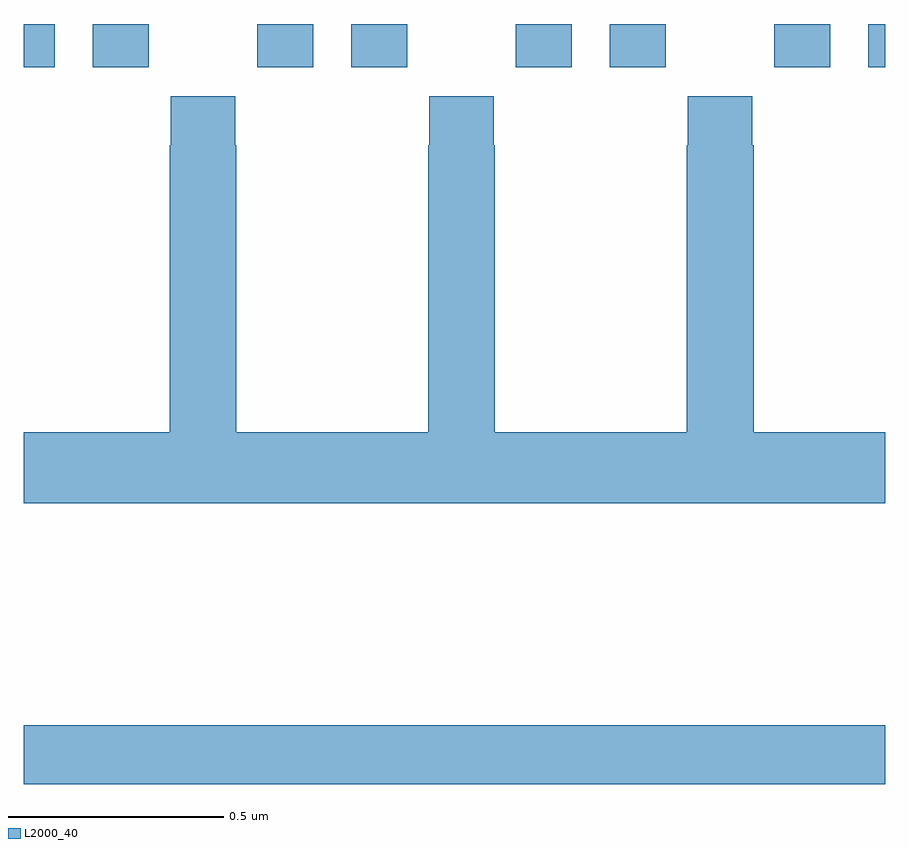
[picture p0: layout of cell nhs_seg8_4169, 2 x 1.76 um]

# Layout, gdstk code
import gdstk
lib = gdstk.Library(unit=1e-6, precision=1e-09)
def R(c, l, rs):  # rectangles x0, y0, x1, y1
    for r in rs: c.add(gdstk.rectangle(r[:2], r[2:], *l))
def P(c, l, *ps):  # polygons
    for p in ps: c.add(gdstk.Polygon(p, *l))
L2000_40 = (2000, 40)

nhs_seg8_4169 = lib.new_cell('nhs_seg8_4169')
R(nhs_seg8_4169, L2000_40, [(166,1161.136,168,1161.272), (166,1162.8,166.072,1162.9), (166.16,1162.8,166.29,1162.9), (166.542,1162.8,166.672,1162.9), (166.76,1162.8,166.89,1162.9), (167.142,1162.8,167.272,1162.9), (167.36,1162.8,167.49,1162.9), (167.742,1162.8,167.872,1162.9), (167.96,1162.8,168,1162.9)])
P(nhs_seg8_4169, L2000_40, [(168,1161.952),(167.694,1161.952),(167.694,1162.619),(167.691,1162.619),(167.691,1162.732),(167.541,1162.732),(167.541,1162.619),(167.539,1162.619),(167.539,1161.952),(167.094,1161.952),(167.094,1162.619),(167.091,1162.619),(167.091,1162.732),(166.941,1162.732),(166.941,1162.619),(166.939,1162.619),(166.939,1161.952),(166.494,1161.952),(166.494,1162.619),(166.491,1162.619),(166.491,1162.732),(166.341,1162.732),(166.341,1162.619),(166.339,1162.619),(166.339,1161.952),(166,1161.952),(166,1161.788),(168,1161.788)])

lib.write_gds('nhs_seg8_4169.gds')
